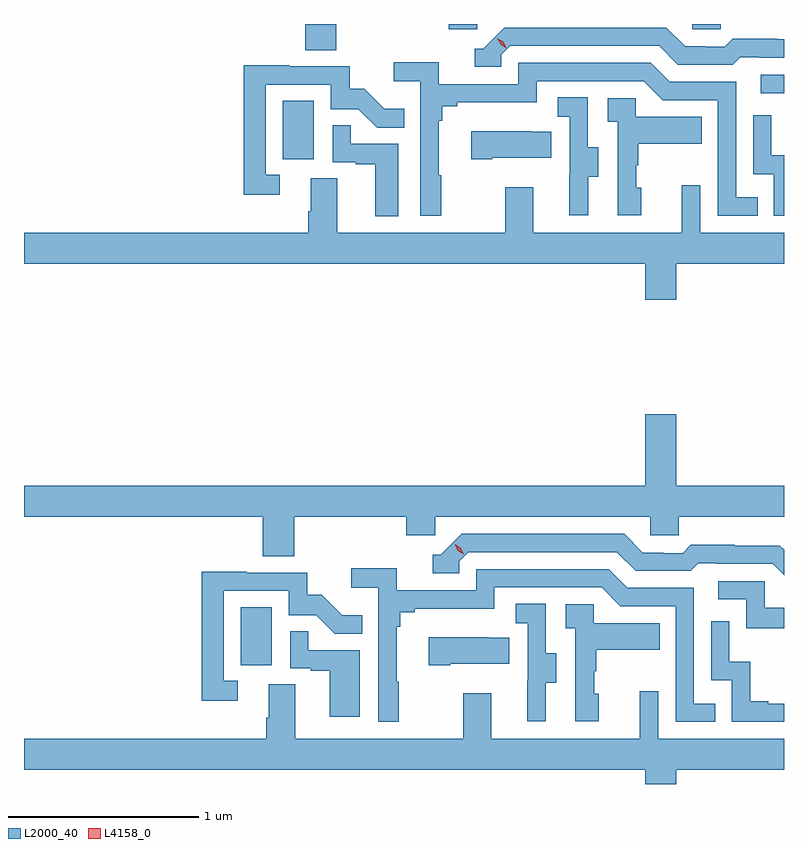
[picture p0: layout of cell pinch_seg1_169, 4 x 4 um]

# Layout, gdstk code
import gdstk
lib = gdstk.Library(unit=1e-6, precision=1e-09)
def R(c, l, rs):  # rectangles x0, y0, x1, y1
    for r in rs: c.add(gdstk.rectangle(r[:2], r[2:], *l))
def P(c, l, *ps):  # polygons
    for p in ps: c.add(gdstk.Polygon(p, *l))
L2000_40 = (2000, 40)
L4158_0 = (4158, 0)

pinch_seg1_169 = lib.new_cell('pinch_seg1_169')
R(pinch_seg1_169, L2000_40, [(1097.942,553.614,1098.106,553.921), (1098.164,556.278,1098.328,556.585), (1100.679,556.626,1100.802,556.722), (1098.281,556.852,1098.446,556.99), (1099.037,556.962,1099.188,556.99), (1100.319,556.962,1100.469,556.99)])
P(pinch_seg1_169, L2000_40, [(1099.314,556.827),(1099.362,556.875),(1100.145,556.875),(1100.244,556.776),(1100.533,556.776),(1100.572,556.815),(1100.671,556.815),(1100.671,556.812),(1100.802,556.812),(1100.802,556.909),(1100.766,556.909),(1100.766,556.912),(1100.533,556.912),(1100.491,556.869),(1100.388,556.869),(1100.388,556.872),(1100.281,556.872),(1100.182,556.971),(1099.329,556.971),(1099.218,556.86),(1099.175,556.86),(1099.175,556.764),(1099.314,556.764)],
  [(1098.997,556.193),(1098.985,556.193),(1098.985,556.481),(1099.004,556.481),(1099.004,556.558),(1099.081,556.558),(1099.081,556.577),(1099.5,556.577),(1099.5,556.689),(1100.064,556.689),(1100.163,556.59),(1100.454,556.59),(1100.454,555.981),(1100.663,555.981),(1100.663,556.077),(1100.55,556.077),(1100.55,556.686),(1100.2,556.686),(1100.101,556.785),(1099.404,556.785),(1099.404,556.674),(1098.986,556.674),(1098.986,556.79),(1098.747,556.79),(1098.747,556.688),(1098.888,556.688),(1098.888,555.981),(1098.997,555.981)],
  [(1098.148,556.197),(1098.075,556.197),(1098.075,556.671),(1098.417,556.671),(1098.417,556.542),(1098.562,556.542),(1098.66,556.444),(1098.803,556.444),(1098.803,556.543),(1098.699,556.543),(1098.592,556.65),(1098.516,556.65),(1098.516,556.767),(1098.197,556.767),(1098.197,556.772),(1097.959,556.772),(1097.959,556.092),(1098.148,556.092)],
  [(1099.771,556.186),(1099.825,556.186),(1099.825,556.341),(1099.77,556.341),(1099.77,556.604),(1099.611,556.604),(1099.611,556.501),(1099.674,556.501),(1099.674,556.197),(1099.673,556.197),(1099.673,555.984),(1099.771,555.984)],
  [(1100.05,556.128),(1100.025,556.128),(1100.025,556.247),(1100.035,556.247),(1100.035,556.361),(1100.369,556.361),(1100.369,556.501),(1100.022,556.501),(1100.022,556.599),(1099.875,556.599),(1099.875,556.475),(1099.926,556.475),(1099.926,555.984),(1100.05,555.984)],
  [(1100.802,556.298),(1100.736,556.298),(1100.736,556.51),(1100.64,556.51),(1100.64,556.2),(1100.748,556.2),(1100.748,555.981),(1100.802,555.981)],
  [(1098.772,556.359),(1098.521,556.359),(1098.521,556.457),(1098.426,556.457),(1098.426,556.263),(1098.547,556.263),(1098.547,556.251),(1098.65,556.251),(1098.65,555.977),(1098.772,555.977)],
  [(1099.267,556.286),(1099.577,556.286),(1099.577,556.423),(1099.469,556.423),(1099.469,556.426),(1099.155,556.426),(1099.155,556.279),(1099.267,556.279)],
  [(1100.236,555.728),(1100.802,555.728),(1100.802,555.892),(1100.361,555.892),(1100.361,556.141),(1100.264,556.141),(1100.264,555.892),(1099.483,555.892),(1099.483,556.132),(1099.336,556.132),(1099.336,555.892),(1098.451,555.892),(1098.451,556.178),(1098.311,556.178),(1098.311,556.004),(1098.299,556.004),(1098.299,555.892),(1096.802,555.892),(1096.802,555.728),(1100.072,555.728),(1100.072,555.54),(1100.236,555.54)],
  [(1098.224,554.396),(1098.815,554.396),(1098.815,554.298),(1098.966,554.298),(1098.966,554.396),(1100.097,554.396),(1100.097,554.298),(1100.247,554.298),(1100.247,554.396),(1100.802,554.396),(1100.802,554.56),(1100.236,554.56),(1100.236,554.935),(1100.072,554.935),(1100.072,554.56),(1096.802,554.56),(1096.802,554.396),(1098.059,554.396),(1098.059,554.188),(1098.224,554.188)],
  [(1100.802,554.223),(1100.78,554.245),(1100.544,554.245),(1100.544,554.248),(1100.311,554.248),(1100.269,554.205),(1100.166,554.205),(1100.166,554.208),(1100.059,554.208),(1099.96,554.307),(1099.107,554.307),(1098.996,554.196),(1098.953,554.196),(1098.953,554.1),(1099.092,554.1),(1099.092,554.163),(1099.14,554.211),(1099.923,554.211),(1100.022,554.112),(1100.311,554.112),(1100.35,554.151),(1100.449,554.151),(1100.449,554.148),(1100.742,554.148),(1100.802,554.088)],
  [(1098.775,553.529),(1098.763,553.529),(1098.763,553.817),(1098.782,553.817),(1098.782,553.894),(1098.859,553.894),(1098.859,553.913),(1099.278,553.913),(1099.278,554.025),(1099.842,554.025),(1099.941,553.926),(1100.232,553.926),(1100.232,553.317),(1100.441,553.317),(1100.441,553.413),(1100.328,553.413),(1100.328,554.022),(1099.978,554.022),(1099.879,554.121),(1099.182,554.121),(1099.182,554.01),(1098.764,554.01),(1098.764,554.126),(1098.525,554.126),(1098.525,554.024),(1098.666,554.024),(1098.666,553.317),(1098.775,553.317)],
  [(1097.926,553.533),(1097.853,553.533),(1097.853,554.007),(1098.195,554.007),(1098.195,553.878),(1098.339,553.878),(1098.437,553.78),(1098.581,553.78),(1098.581,553.879),(1098.477,553.879),(1098.37,553.986),(1098.294,553.986),(1098.294,554.103),(1097.975,554.103),(1097.975,554.108),(1097.737,554.108),(1097.737,553.428),(1097.926,553.428)],
  [(1100.802,553.917),(1100.7,553.917),(1100.7,554.058),(1100.457,554.058),(1100.457,553.962),(1100.604,553.962),(1100.604,553.809),(1100.802,553.809)],
  [(1099.549,553.522),(1099.603,553.522),(1099.603,553.677),(1099.548,553.677),(1099.548,553.94),(1099.389,553.94),(1099.389,553.837),(1099.452,553.837),(1099.452,553.533),(1099.451,553.533),(1099.451,553.32),(1099.549,553.32)],
  [(1099.828,553.464),(1099.803,553.464),(1099.803,553.583),(1099.813,553.583),(1099.813,553.697),(1100.147,553.697),(1100.147,553.837),(1099.8,553.837),(1099.8,553.935),(1099.653,553.935),(1099.653,553.811),(1099.704,553.811),(1099.704,553.32),(1099.828,553.32)],
  [(1100.802,553.413),(1100.719,553.413),(1100.719,553.426),(1100.624,553.426),(1100.624,553.634),(1100.514,553.634),(1100.514,553.846),(1100.418,553.846),(1100.418,553.536),(1100.526,553.536),(1100.526,553.317),(1100.802,553.317)],
  [(1098.568,553.695),(1098.299,553.695),(1098.299,553.793),(1098.204,553.793),(1098.204,553.599),(1098.311,553.599),(1098.311,553.587),(1098.41,553.587),(1098.41,553.344),(1098.568,553.344)],
  [(1099.045,553.622),(1099.355,553.622),(1099.355,553.759),(1099.247,553.759),(1099.247,553.762),(1098.933,553.762),(1098.933,553.615),(1099.045,553.615)],
  [(1100.236,553.064),(1100.802,553.064),(1100.802,553.228),(1100.139,553.228),(1100.139,553.477),(1100.042,553.477),(1100.042,553.228),(1099.261,553.228),(1099.261,553.468),(1099.114,553.468),(1099.114,553.228),(1098.229,553.228),(1098.229,553.514),(1098.089,553.514),(1098.089,553.34),(1098.077,553.34),(1098.077,553.228),(1096.802,553.228),(1096.802,553.064),(1100.072,553.064),(1100.072,552.99),(1100.236,552.99)])
P(pinch_seg1_169, L4158_0, [(1099.34,556.863),(1099.31,556.883),(1099.294,556.916),(1099.294,556.916),(1099.294,556.916),(1099.325,556.896),(1099.34,556.863),(1099.34,556.863)],
  [(1099.117,554.198),(1099.086,554.218),(1099.071,554.25),(1099.071,554.251),(1099.071,554.251),(1099.101,554.231),(1099.117,554.198),(1099.117,554.198)])

lib.write_gds('pinch_seg1_169.gds')
